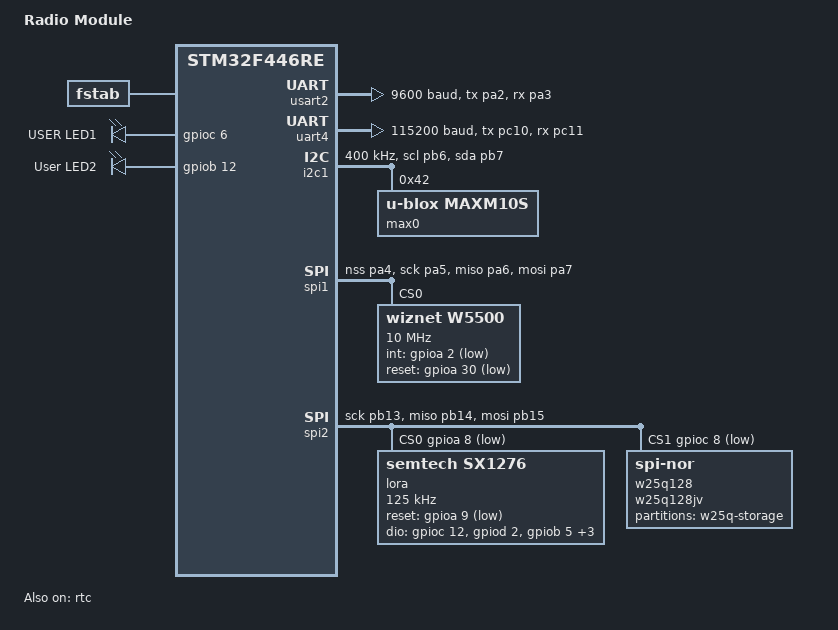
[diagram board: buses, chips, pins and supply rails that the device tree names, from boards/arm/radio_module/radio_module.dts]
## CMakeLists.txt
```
set(BOARD radio_module)
set(BOARD_ROOT ${CMAKE_CURRENT_SOURCE_DIR})

cmake_minimum_required(VERSION 3.13.1)
find_package(Zephyr REQUIRED HINTS $ENV{ZEPHYR_BASE})

project(radio-module LANGUAGES C)

FILE(GLOB sources src/*.c)
target_sources(app PRIVATE ${sources})

# root include directory
zephyr_include_directories(../include)
```

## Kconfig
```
# Copyright (c) 2021 Nordic Semiconductor ASA
# SPDX-License-Identifier: Apache-2.0
#
# This file is the application Kconfig entry point. All application Kconfig
# options can be defined here or included via other application Kconfig files.
# You can browse these options using the west targets menuconfig (terminal) or
# guiconfig (GUI).

menu "Zephyr"
source "Kconfig.zephyr"
endmenu

menuconfig RADIO_MODULE_RECEIVER
	bool "Radio module is the ground receiver"
	default n

config LORA_TX_QUEUE_SIZE
	int "LoRa TX queue size"
	default 16
	help
	  The number of LoRa packets that can be queued for transmission.

config GNSS_DATA_SAMPLE_INTERVAL
	int "GNSS data sample interval (seconds)"
	default 1
	help
	  The interval at which GNSS data is sampled.

module = APP_RADIO_MODULE
module-str = APP_RADIO_MODULE
source "subsys/logging/Kconfig.template.log_config"
```

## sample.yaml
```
# This file is provided so that the application can be compiled using Twister,
# the Zephyr testing tool. In this file, multiple combinations can be specified,
# so that you can easily test all of them locally or in CI.
sample:
  description: Radio Module
  name: radio-module
common:
  build_only: true
  integration_platforms:
    - radio_module
tests:
  app.default: {}
  app.debug:
    extra_overlay_confs:
      - debug.conf
```

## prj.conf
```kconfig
# Copyright (c) 2023 RIT Launch Initiative
# SPDX-License-Identifier: Apache-2.0

# Clocks
CONFIG_CLOCK_CONTROL=y

# Flash
CONFIG_FLASH=y
CONFIG_FLASH_MAP=y
CONFIG_FLASH_PAGE_LAYOUT=y

# Filesystem
CONFIG_FLASH=y
CONFIG_FLASH_MAP=y
CONFIG_FLASH_PAGE_LAYOUT=y
CONFIG_DISK_ACCESS=y
CONFIG_FILE_SYSTEM=y
CONFIG_FILE_SYSTEM_LITTLEFS=y
CONFIG_FS_LITTLEFS_BLK_DEV=y

# GNSS
CONFIG_GNSS=y
CONFIG_GNSS_SATELLITES=y
CONFIG_GNSS_NMEA0183=y

# Hashmap for UDP
CONFIG_SYS_HASH_MAP=y
CONFIG_SYS_HASH_FUNC32=y

# IO
CONFIG_GPIO=y
CONFIG_I2C=y
#CONFIG_I2C_CALLBACK=y
CONFIG_PINCTRL=y
CONFIG_SERIAL=y
CONFIG_SPI=y
# CONFIG_SPI_RTIO=y
CONFIG_LED=y

# Launch Core
CONFIG_LAUNCH_CORE=y
CONFIG_LAUNCH_CORE_LORA=y

# LoRa
CONFIG_LORA=y
CONFIG_LORA_SX127X=y

# OS
CONFIG_TIMESLICE_SIZE=50
CONFIG_MAIN_STACK_SIZE=2048

# RNG (Needed for networking)
CONFIG_ENTROPY_GENERATOR=y
CONFIG_TEST_RANDOM_GENERATOR=y # TODO: See if its worth using STM32 HW RNG to remove warning

# SPI
CONFIG_SPI_STM32_INTERRUPT=y
#CONFIG_SPI_STM32_DMA=y
CONFIG_SPI_ASYNC=y

# State Machine
CONFIG_SMF=y

# Modem
CONFIG_MODEM_BACKEND_UART=y

# Networking
CONFIG_NETWORKING=y
CONFIG_NET_ARP_TABLE_SIZE=4
CONFIG_NET_CONTEXT_RCVTIMEO=y
CONFIG_NET_DEFAULT_IF_ETHERNET=y
CONFIG_NET_DRIVERS=y
CONFIG_NET_IPV4=y
CONFIG_NET_IPV6=n
CONFIG_NET_L2_ETHERNET=y
CONFIG_NET_L2_ETHERNET_MGMT=y
CONFIG_NET_MAX_CONN=10
CONFIG_NET_SOCKETS=y
CONFIG_NET_SOCKETS_POSIX_NAMES=y
CONFIG_NET_STATISTICS=y

# UART
CONFIG_UART_INTERRUPT_DRIVEN=y
```

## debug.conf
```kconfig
# Copyright (c) 2024 Launch Initiative
# SPDX-License-Identifier: Apache-2.0

# Compiler
CONFIG_DEBUG=y
CONFIG_DEBUG_OPTIMIZATIONS=y
CONFIG_DEBUG_THREAD_INFO=y
CONFIG_THREAD_RUNTIME_STATS=y

# Console
CONFIG_CBPRINTF_FP_SUPPORT=y
CONFIG_CONSOLE=y
CONFIG_CONSOLE_GETCHAR=y
CONFIG_CONSOLE_GETCHAR_BUFSIZE=64
CONFIG_CONSOLE_PUTCHAR_BUFSIZE=512
CONFIG_CONSOLE_SUBSYS=y
CONFIG_SERIAL=y
CONFIG_STDOUT_CONSOLE=y
CONFIG_UART_CONSOLE=y

# GNSS
#CONFIG_GNSS_DUMP_TO_LOG=y
#CONFIG_GNSS_LOG_LEVEL_DBG=y

# Networking
CONFIG_TFTP_LIB=y

# Shell (common)
CONFIG_SHELL=y
CONFIG_DEVICE_SHELL=y
CONFIG_FILE_SYSTEM_SHELL=y
CONFIG_FLASH_MAP_SHELL=y
CONFIG_GPIO_SHELL=y
CONFIG_KERNEL_SHELL=y

# Shell (networking)
CONFIG_NET_SHELL=y
CONFIG_NET_ETHERNET_BRIDGE_SHELL=y

# Shell (unique)
CONFIG_LORA_SHELL=y
CONFIG_I2C_SHELL=y

# Logging
CONFIG_APP_RADIO_MODULE_LOG_LEVEL_DBG=y
CONFIG_LOG=y
# CONFIG_LORA_LOG_LEVEL_DBG=y

# Networking
CONFIG_NET_STATISTICS=y
```

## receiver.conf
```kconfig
CONFIG_GNSS_DUMP_TO_LOG=n
CONFIG_GNSS_LOG_LEVEL_DBG=n
CONFIG_GNSS=n
CONFIG_GNSS_SATELLITES=n
CONFIG_GNSS_NMEA0183=n
```

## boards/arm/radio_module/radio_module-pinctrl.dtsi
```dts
/ {
	soc {
		pinctrl: pin-controller@40020000 {
            spi2_nss_pa8: spi2_nss_pa8 {
                pinmux = <STM32_PINMUX('A', 8, AF1)>;
            };
        };
    };
};
```

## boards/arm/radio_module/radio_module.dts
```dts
/*
 * Copyright (c) 2018 Philémon Jaermann
 *
 * SPDX-License-Identifier: Apache-2.0
 */

/dts-v1/;
#include <st/f4/stm32f446Xe.dtsi>
#include <st/f4/stm32f446r(c-e)tx-pinctrl.dtsi>
#include <zephyr/dt-bindings/input/input-event-codes.h>
#include "radio_module-pinctrl.dtsi"

/ {
    model = "Radio Module";
    compatible = "st,stm32f446re-nucleo";

    chosen {
        zephyr,console = &uart4;
        zephyr,shell-uart = &uart4;
        zephyr,sram = &sram0;
        zephyr,flash = &flash0;

        storage = &w25q128;
        logfs = &lfs1;
    };

    fstab {
        compatible = "zephyr,fstab";

        lfs1: lfs1 {
            compatible = "zephyr,fstab,littlefs";
            mount-point = "/lfs";
            partition = <&external_storage_partition>;
            automount;

            read-size = <16>;
            prog-size = <16>;
            cache-size = <64>;
            lookahead-size = <32>;
            block-cycles = <(90 * 1000)>;
        };
    };

    cfg-device-gnss {
        compatible = "u-blox,ubxlib-device-gnss";
        status = "okay";
        transport-type = "i2c1";
        //        transport-type = "usart2";
        module-type = "U_GNSS_MODULE_TYPE_M10";
    };

    leds: leds {
        compatible = "gpio-leds";

        red_led_1: led_1 {
            gpios = <&gpioc 6 GPIO_ACTIVE_HIGH>;
            label = "USER LED1";
        };

        red_led_2: led_2 {
            gpios = <&gpiob 12 GPIO_ACTIVE_HIGH>;
            label = "User LED2";
        };
    };


    reset: reset {
        compatible = "gpio-reset";

        ublox_reset: ublox_reset {
            gpios = <&gpioc 13 GPIO_ACTIVE_LOW>;
            label = "U-Blox Reset";
        };
    };


    aliases {
        led0 = &red_led_1;
        led1 = &red_led_2;

        dbguart = &uart4;
        ubxlib-uart2 = &usart2;
        ubxrst = &ublox_reset;

        lora0 = &lora;

        max0 = &max0;
        i2c1 = &i2c1;
    };
};

&clk_lsi {
    status = "okay";
};

&clk_hsi {
    clock-frequency = <DT_FREQ_M(16)>;
    status = "okay";
};

//&pll {
//	div-m = <8>;
//	mul-n = <384>;
//	div-p = <2>;
//	div-q = <2>;
//	clocks = <&clk_hsi>;
//	status = "okay";
//};

&rcc {
    clocks = <&clk_hsi>;
    clock-frequency = <DT_FREQ_M(16)>;
    ahb-prescaler = <1>;
    apb1-prescaler = <2>;
    apb2-prescaler = <1>;
};

&usart2 {
    pinctrl-0 = <&usart2_tx_pa2 &usart2_rx_pa3>;
    pinctrl-names = "default";
    current-speed = <9600>;
    status = "okay";

//    ubxlib-usart2 {
//        status = "okay";
//        current-speed = <9600>;
//    };
};

&uart4 {
    pinctrl-0 = <&uart4_tx_pc10 &uart4_rx_pc11>;
    pinctrl-names = "default";
    current-speed = <115200>;
    status = "okay";
};

&i2c1 {
    pinctrl-0 = <&i2c1_scl_pb6 &i2c1_sda_pb7>;
    pinctrl-names = "default";
    status = "okay";
    clock-frequency = <I2C_BITRATE_FAST>;

    max0: maxm10s@42 {
        status = "okay";
        compatible = "u-blox,maxm10s";
        reg = <0x42>;

    };
};


&spi1 {
    pinctrl-0 = <&spi1_nss_pa4 &spi1_sck_pa5
                 &spi1_miso_pa6 &spi1_mosi_pa7>;
    pinctrl-names = "default";
    status = "okay";

    w5500: w5500@0 {
        compatible = "wiznet,w5500";
        reg = <0x0>;
        spi-max-frequency = <10000000>;
        int-gpios = <&gpioa 2 GPIO_ACTIVE_LOW>;
        reset-gpios = <&gpioa 30 GPIO_ACTIVE_LOW>;
    };
};

&spi2 {
    pinctrl-0 = <&spi2_sck_pb13 &spi2_miso_pb14 &spi2_mosi_pb15>;
    cs-gpios = <&gpioa 8 GPIO_ACTIVE_LOW
                &gpioc 8 GPIO_ACTIVE_LOW
               >;
    pinctrl-names = "default";
    status = "okay";

    lora: lora@0 {
        compatible = "semtech,sx1276";
        reg = <0>;
        reset-gpios = <&gpioa 9 GPIO_ACTIVE_LOW>;
        dio-gpios = <&gpioc 12 (GPIO_PULL_DOWN | GPIO_ACTIVE_HIGH)>,
                    <&gpiod 2 (GPIO_PULL_DOWN | GPIO_ACTIVE_HIGH)>,
                    <&gpiob 5 (GPIO_PULL_DOWN | GPIO_ACTIVE_HIGH)>,
                    <&gpioa 12 (GPIO_PULL_DOWN | GPIO_ACTIVE_HIGH)>,
                    <&gpioa 11 (GPIO_PULL_DOWN | GPIO_ACTIVE_HIGH)>,
                    <&gpioa 10 (GPIO_PULL_DOWN | GPIO_ACTIVE_HIGH)>;
        power-amplifier-output = "pa-boost";
        spi-max-frequency = <125000>;
        status = "okay";
    };

    w25q128: w25q128jv@1 {
        compatible = "jedec,spi-nor";
        reg = <1>;

        spi-max-frequency = <(10 * 1000 * 1000)>;
        size = <DT_SIZE_M(128)>;
        jedec-id = [ef 40 18];

        has-dpd;
        t-enter-dpd = <(3 * 1000)>;
        t-exit-dpd = <(3 * 1000)>;

        partitions {
            compatible = "fixed-partitions";
            #address-cells = <1>;
            #size-cells = <1>;

            external_storage_partition: partition@0 {
                label = "w25q-storage";
                reg = <0 DT_SIZE_M(128)>;
            };
        };
    };
};

&rtc {
    clocks = <&rcc STM32_CLOCK_BUS_APB1 0x10000000>,
             <&rcc STM32_SRC_LSI RTC_SEL(2)>;
    status = "okay";
};

&backup_sram {
    status = "okay";
};

&flash0 {
    partitions {
        compatible = "fixed-partitions";
        #address-cells = <1>;
        #size-cells = <1>;

        boot_partition: partition@0 {
            label = "mcuboot";
            reg = <0x00000000 DT_SIZE_K(64)>;
            read-only;
        };

        /*
         * The flash starting at 0x00010000 and ending at
         * 0x0001ffff (sectors 16-31) is reserved for use
         * by the application.
         */
        storage_partition: partition@10000 {
            label = "storage";
            reg = <0x00010000 DT_SIZE_K(64)>;
        };

        slot0_partition: partition@20000 {
            label = "image-0";
            reg = <0x00020000 DT_SIZE_K(128)>;
        };

        slot1_partition: partition@40000 {
            label = "image-1";
            reg = <0x00040000 DT_SIZE_K(128)>;
        };

        scratch_partition: partition@60000 {
            label = "image-scratch";
            reg = <0x00060000 DT_SIZE_K(128)>;
        };
    };
};
```

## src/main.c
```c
// Application Includes
#include "radio_module_functionality.h"

#include <launch_core/os/fs.h>
// Zephyr Includes
#include <zephyr/drivers/gpio.h>
#include <zephyr/kernel.h>
#include <zephyr/logging/log.h>
#include <zephyr/storage/flash_map.h>

#define SLEEP_TIME_MS 100

LOG_MODULE_REGISTER(main, CONFIG_APP_RADIO_MODULE_LOG_LEVEL);

// Queues
K_QUEUE_DEFINE(net_tx_queue);

// Devices
static const struct device *const lora_dev = DEVICE_DT_GET_ONE(semtech_sx1276);
static const struct device *const wiznet = DEVICE_DT_GET_ONE(wiznet_w5500);

static int init_networking() {
    int ret = l_init_udp_net_stack_by_device(wiznet, RADIO_MODULE_IP_ADDR);
    if (ret != 0) {
        LOG_ERR("Failed to initialize UDP networking stack: %d", ret);
        return ret;
    } else {
        LOG_INF("Initialized networking stack");
    }

    return 0;
}

int main() {
    LOG_DBG("Starting radio module!\n");

    if (l_check_device(lora_dev) == 0) {
        init_lora_unique(lora_dev);
    }

    if (l_check_device(wiznet) == 0) {
        init_networking();
        init_udp_unique();
    }

    return main_unique();
}
```

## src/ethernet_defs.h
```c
/// @file ethernet_defs.h
/// @brief Contains the definition of the ethernet_port enum.
/// @authors
/// @Naquino14 Nate Aquino naquino14@outlook.com
#ifndef ETHERNET_DEFS_H
#define ETHERNET_DEFS_H

/// @brief Used to identify the module that sent the packet.
enum ethernet_port {
    /// @brief The sensor mod port.
    sensor_mod = 8000,
    /// @brief The power mod port.
    power_mod = 9000,
    /// @brief The autopilot mod port.
    autopilot_mod = 10000,
};

#endif  // !ETHERNET_DEFS_H
```

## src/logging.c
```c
#ifndef CONFIG_RADIO_MODULE_RECEIVER
// Launch Includes
#include <launch_core/os/fs.h>
#include <launch_core/types.h>

// Zephyr Includes
#include <zephyr/drivers/gpio.h>
#include <zephyr/kernel.h>
#include <zephyr/logging/log.h>

#define LOGGING_STACK_SIZE 4096
#define MAX_DIR_NAME_LEN   10 // 4 number boot count + 5 for "/lfs/" + 1 for end slash
#define MAX_FILE_NAME_LEN  4

#define GNSS_SAMPLE_COUNT 300 // 1 samples every 2 seconds for 10 minutes

LOG_MODULE_REGISTER(logging);

static void logging_task(void);
K_THREAD_DEFINE(data_logger, LOGGING_STACK_SIZE, logging_task, NULL, NULL, NULL, K_PRIO_PREEMPT(20), 0, 1000);

// Message queues
K_MSGQ_DEFINE(gnss_logging_msgq, sizeof(l_gnss_data_t), 10, 4);

#ifdef CONFIG_SEND_LAST_LOG
#include <launch_core/net/tftp.h>

static void send_last_log(const uint32_t boot_count_to_get) {
    LOG_INF("Attempting to send last logs over TFTP");
    // Open /lfs/current_boot_count-1 directory
    char dir_name[MAX_DIR_NAME_LEN] = "";
    snprintf(dir_name, sizeof(dir_name), "/lfs/%d", boot_count_to_get);

    // Setup output file names
    char gnss_output_file_name[MAX_FILE_NAME_LEN + 4] = "";
    snprintf(gnss_output_file_name, sizeof(gnss_output_file_name), "gnss_%d", boot_count_to_get);

    // Read GNSS into buffer
    char gnss_file_name[MAX_DIR_NAME_LEN + MAX_FILE_NAME_LEN + 1] = "";
    snprintf(gnss_file_name, sizeof(gnss_file_name), "%s/gnss", dir_name);
    l_fs_file_t gnss_file = {
        .fname = gnss_file_name,
        .width = sizeof(l_gnss_time_sync_t),
        .mode = SLOG_ONCE,
        .size = sizeof(l_gnss_time_sync_t) * GNSS_SAMPLE_COUNT,
        .initialized = false,
        .file = {0},
        .dirent = {0},
        .vfs = {0},
        .wpos = 0,
    };

    l_gnss_time_sync_t gnss_data[GNSS_SAMPLE_COUNT] = {0};
    size_t gnss_log_file_size = l_fs_file_size(&gnss_file);
    LOG_INF("Previous GNSS Log File Size: %d", gnss_log_file_size);
    if ((l_fs_init(&gnss_file) == 0) && fs_read(&gnss_file.file, &gnss_data, gnss_log_file_size)) {
        l_tftp_init_and_put(L_DEFAULT_SERVER_IP, gnss_output_file_name, (uint8_t*) &gnss_data, gnss_log_file_size);
        l_fs_close(&gnss_file);
    } else {
        LOG_ERR("Failed to read GNSS data from file.");
    }
}
#endif

static void init_logging(l_fs_file_t** p_gnss_file) {
    uint32_t boot_count = l_fs_boot_count_check();
#ifdef CONFIG_SEND_LAST_LOG
    send_last_log(boot_count);
#endif

    // Create directory with boot count
    char dir_name[MAX_DIR_NAME_LEN] = "";
    snprintf(dir_name, sizeof(dir_name), "/lfs/%d", boot_count);
    LOG_INF("Logging files to %s", dir_name);
    fs_mkdir(dir_name);

    // Create filenames
    static char gnss_file_name[MAX_DIR_NAME_LEN + MAX_FILE_NAME_LEN + 1] = "";
    snprintf(gnss_file_name, sizeof(gnss_file_name), "%s/gnss", dir_name);

    // Initialize structs
    static l_fs_file_t gnss_file = {
        .fname = gnss_file_name,
        .width = sizeof(l_gnss_time_sync_t),
        .mode = SLOG_ONCE,
        .size = sizeof(l_gnss_time_sync_t) * GNSS_SAMPLE_COUNT,
        .initialized = false,
        .file = {0},
        .dirent = {0},
        .vfs = {0},
        .wpos = 0,
    };

    LOG_INF("Creating file %s", gnss_file_name);

    // Initialize files
    if (l_fs_init(&gnss_file) == 0) {
        LOG_INF("Successfully created file for storing GNSS data.");
        *p_gnss_file = &gnss_file;
    }
}

extern bool logging_enabled;

static void logging_task(void) {
    l_fs_file_t* gnss_file = NULL;

    l_gnss_time_sync_t gnss_data;

    init_logging(&gnss_file);

    bool gnss_out_of_space = false;

    while (true) {
        if (!logging_enabled) {
            continue;
        }

        if (!k_msgq_get(&gnss_logging_msgq, &gnss_data, K_MSEC(10)) && (gnss_file != NULL) && (!gnss_out_of_space)) {
            LOG_INF("Logged GNSS data");

            int32_t err_flag = 0;
            l_fs_write(gnss_file, (const uint8_t*) &gnss_data, &err_flag);
            gnss_out_of_space = err_flag == -ENOSPC;
            LOG_INF("%d", err_flag);
        }

        if (gnss_out_of_space) {
            LOG_ERR("Out of space logging GNSS. Stopping logging.");
            logging_enabled = false;
            l_fs_close(gnss_file);
            return;
        }
    }
}
#endif
```

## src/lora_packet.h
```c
/// @file lora_packet.h
/// @brief Contain the definition of the LoRaPacket class.
/// @authors
/// @Naquino14 Nate Aquino naquino14@outlook.com

#ifndef LORA_PACKET_H
#define LORA_PACKET_H

#ifndef ETHERNET_DEFS_H
#include "ethernet_defs.h"
#endif  // !ETHERNET

#ifndef _SYS__STDINT_H
#include <stdint.h>
#endif  // !_SYS__STDINT_H

/// @brief A struct that represents a LoRa packet.
struct lora_packet {
    /// @brief The module that sent the packet.
    ethernet_port module;
    /// @brief The data of the packet.
    uint8_t data[256];
    /// @brief The length of the data.
    uint8_t data_len;
};

#endif  // !LORA_PACKET_H
```

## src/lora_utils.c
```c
/*
 * Copyright (c) 2023 Aaron Chan
 *
 * SPDX-License-Identifier: Apache-2.0
 */

#include "lora_utils.h"
#include "net_utils.h"

#include <zephyr/kernel.h>
#include <string.h>

const struct device *const lora_dev = DEVICE_DT_GET(DT_ALIAS(lora0));

int init_sx1276(const struct device *const dev) {
    if (!device_is_ready(dev)) {
        printk("Device %s is not ready.\n", dev->name);
        return -ENODEV;
    }
    
    printk("Device %s is ready.\n", dev->name);
    
    return 0;
}


int lora_configure(const struct device *const dev, bool transmit) {
    struct lora_modem_config config = {
        .frequency = 915000000,
        .bandwidth = BW_125_KHZ,
        .datarate = SF_10,
        .preamble_len = 8,
        .coding_rate = CR_4_5,
        .tx_power = 4,
        .iq_inverted = false,
        .public_network = false,
        .tx = transmit
    };

    return lora_config(dev, &config);
}

void lora_debug_recv_cb(const struct device *const dev, uint8_t *data, uint16_t size, int16_t rssi, int8_t snr) {
    static RECEIVER_DATA_T receiver_data = {0}; 

	if (size != 0) {    
		printk("Received %d bytes:\n\tMem View: ",size);
		for (uint16_t i = 0; i < size; i++) printk("0x%02x ",data[i]);
        printk("\n\tVal View: %s\n", data);
		printk("\tRSSI = %ddBm\n\tSNR = %ddBm\n", rssi, snr);

        printk("\n-----------------------------------\n");
    
        uint16_t port = data[1] << 8 | data[0];
        printk("Port: %d\n", port);
        send_udp_broadcast(data + 2, size - 2, port);

        ++receiver_data.packets_sent;
        receiver_data.snr = snr;
        receiver_data.rssi = rssi;
        send_udp_broadcast((uint8_t *) &receiver_data, sizeof(receiver_data), 12001); 
        memset(data, 0, size);
	} 
}

int lora_tx(const struct device *const dev, uint8_t *buff, size_t len) {
    lora_configure(dev, true);
    int ret = lora_send(dev, buff, len);
    lora_configure(dev, false);
    return ret;
}
```

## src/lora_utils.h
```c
/*
 * Copyright (c) 2023 Aaron Chan
 *
 * SPDX-License-Identifier: Apache-2.0
 */

#ifndef LORA_UTILS_H_
#define LORA_UTILS_H_

#include <zephyr/device.h>
#include <zephyr/drivers/lora.h>

typedef struct __attribute__((__packed__)) {
    uint16_t port;
    float pressure_ms5;
    float temperature_ms5;

    float pressure_bmp3;
    float temperature_bmp3;

    float accel_x;
    float accel_y;
    float accel_z;
   
    float magn_x;
    float magn_y;
    float magn_z;

    float gyro_x;
    float gyro_y;
    float gyro_z;

    float temperature_tmp;
} FAKE_SENSOR_DATA_T;

typedef struct __attribute__((__packed__)) {
    uint32_t packets_sent;
    int16_t rssi;
    int8_t snr;
} RECEIVER_DATA_T;

int init_sx1276(const struct device *const dev);

int lora_configure(const struct device *const dev, bool transmit);

int lora_tx(const struct device *const lora_dev, uint8_t *buff, size_t len);

void lora_debug_recv_cb(const struct device *const dev, uint8_t *data, uint16_t size, int16_t rssi, int8_t snr);

#endif
```

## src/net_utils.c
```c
/*
 * Copyright (c) 2023 Aaron Chan
 *
 * SPDX-License-Identifier: Apache-2.0
 */

#include "net_utils.h"

#include <zephyr/kernel.h>
#include <zephyr/net/socket.h>
#include <zephyr/net/ethernet.h>
#include <zephyr/net/net_event.h>

#include <zephyr/logging/log.h>

LOG_MODULE_REGISTER(net_utils, CONFIG_APP_LOG_LEVEL);

static struct net_if *net_interface;

int init_eth_iface(void) {
    const struct device *const wiznet = DEVICE_DT_GET_ONE(wiznet_w5500);
    if (!device_is_ready(wiznet)) {
        LOG_INF("Device %s is not ready.\n", wiznet->name);
        return -ENODEV;
    } 
    
    LOG_INF("Device %s is ready.\n", wiznet->name);
    return 0;
}

int init_net_stack(void) {
    static const char ip_addr[] = "10.10.10.69";
    int ret;

    net_interface = net_if_get_default();
    if (!net_interface) {
        LOG_INF("No network interface found\n");
        return -ENODEV;
    }

    struct in_addr addr;
    ret = net_addr_pton(AF_INET, ip_addr, &addr);
    if (ret < 0) {
        LOG_INF("Invalid IP address\n");
        return ret;
    }

    struct net_if_addr *ifaddr = net_if_ipv4_addr_add(net_interface, &addr, NET_ADDR_MANUAL, 0);
    if (!ifaddr) {
        LOG_INF("Failed to add IP address\n");
        return -ENODEV;
    }

    LOG_INF("IPv4 address configured: %s\n", ip_addr);

    return 0;
}

int send_udp_broadcast(const uint8_t *data, size_t data_len, uint16_t port) {
    int sock;
    int ret;

    sock = socket(AF_INET, SOCK_DGRAM, IPPROTO_UDP);
    if (sock < 0) {
        LOG_INF("Failed to create socket (%d)\n", sock);
        return sock;
    }

    struct sockaddr_in dst_addr;
    dst_addr.sin_family = AF_INET;
    dst_addr.sin_port = htons(port);
    ret = net_addr_pton(AF_INET, "255.255.255.255", &dst_addr.sin_addr);
    if (ret < 0) {
        LOG_INF("Invalid IP address format\n");
        close(sock);
        return ret;
    }

    ret = sendto(sock, data, data_len, 0, (struct sockaddr *) &dst_addr, sizeof(dst_addr));
    if (ret < 0) {
        LOG_INF("Failed to send UDP broadcast (%d)\n", ret);
        close(sock);
        return ret;
    }

    LOG_INF("Sent UDP broadcast: %s\n", data);

    close(sock);
    return 0;
}
```

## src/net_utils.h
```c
/*
 * Copyright (c) 2023 Aaron Chan
 *
 * SPDX-License-Identifier: Apache-2.0
 */

#ifndef POWER_MODULE_NET_UTILS_H_
#define POWER_MODULE_NET_UTILS_H_

#include <stddef.h>
#include <stdint.h>

/**
 * @brief Initialize the ethernet interface
 *
 * @return int 0 if successful, negative error code otherwise
 */
int init_eth_iface(void);

/**
 * @brief Initialize the network stack
 * @details More speicifically, this sets up the IP address of the ethernet device
 * @return int
 */
int init_net_stack(void);

/**
 * @brief Broadcast a UDP packet over ethernet
 *
 * @param data the data to send
 * @param data_len the size of the data to send
 * @param port the port number to send the data to
 * @return int 0 if successful, negative error code otherwise
 */
int send_udp_broadcast(const uint8_t *data, size_t data_len, uint16_t port);

#endif
```

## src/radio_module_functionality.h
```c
#ifndef RADIO_MODULE_FUNCTIONALITY_H
#define RADIO_MODULE_FUNCTIONALITY_H

#include <launch_core/backplane_defs.h>
#include <launch_core/dev/dev_common.h>
#include <launch_core/net/lora.h>
#include <launch_core/net/net_common.h>
#include <launch_core/net/udp.h>

// Networking
#define RADIO_MODULE_IP_ADDR BACKPLANE_IP(RADIO_MODULE_ID, 1, 1) // TODO: KConfig the board revision and #
#define NUM_SOCKETS       3
#define UDP_RX_STACK_SIZE 1024
#define UDP_RX_BUFF_LEN   256 // TODO: Make this a KConfig

// LoRa
#define LORA_TX_STACK_SIZE 1024
#define LORA_LOG_STACK_SIZE 512

int init_lora_unique(const struct device *lora_dev);

int init_udp_unique();

int start_tasks();

int main_unique();

#ifndef CONFIG_RADIO_MODULE_RECEIVER
/**
 * Listen for UDP packets and send payloads over LoRa
 */
void udp_to_lora();
#endif

#endif //RADIO_MODULE_FUNCTIONALITY_H
```

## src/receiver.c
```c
#ifdef CONFIG_RADIO_MODULE_RECEIVER

// Self Include
#include "radio_module_functionality.h"

// Launch Includes
#include <launch_core/net/lora.h>

// Zephyr Includes
#include <zephyr/drivers/gpio.h>
#include <zephyr/kernel.h>
#include <zephyr/kernel/thread.h>
#include <zephyr/logging/log.h>

LOG_MODULE_REGISTER(radio_module_rxer);

// Queues - Name, Entry Size, Queue Size, Alignment
K_MSGQ_DEFINE(rx_telem_queue, sizeof(l_lora_packet_t), 8, 1);
K_MSGQ_DEFINE(statistics_queue, sizeof(l_lora_statistics_t), 8, 1);

static void reset_recv_async(struct k_timer*);
K_TIMER_DEFINE(recv_heartbeat, reset_recv_async, NULL);

// LEDs
static const struct gpio_dt_spec led0 = GPIO_DT_SPEC_GET(DT_ALIAS(led0), gpios);
static const struct gpio_dt_spec led1 = GPIO_DT_SPEC_GET(DT_ALIAS(led1), gpios);
static const struct device* lora;

// Forward Declares
static void udp_broadcast_task(void);

// Threads
#define THREAD_STACK_SIZE 2048
K_THREAD_DEFINE(udp_bcast_thread, THREAD_STACK_SIZE, udp_broadcast_task, NULL, NULL, NULL, K_PRIO_PREEMPT(25), 0, 2000);
int sock = -1;

static void init_udp_sock() {
    if (sock == -1) {
        sock = l_init_udp_socket(RADIO_MODULE_IP_ADDR, RADIO_MODULE_BASE_PORT);
        if (sock >= 0) {
            l_set_socket_rx_timeout(sock, 10);
        }
    }
}

static void udp_broadcast_task(void) {
    init_udp_sock();

    if (sock < 0) {
        LOG_ERR("Failed to create socket for UDP broadcasts. Not sending received LoRa packets");
        return;
    }

    l_lora_packet_t lora_packet = {0};
    l_lora_statistics_t lora_statistics = {0};

    while (true) {
        if (k_msgq_get(&rx_telem_queue, &lora_packet, K_MSEC(100)) == 0) {
            LOG_INF("Received for port %d", lora_packet.port);
            l_send_udp_broadcast(sock, lora_packet.payload, lora_packet.payload_len, lora_packet.port);
            gpio_pin_toggle_dt(&led0);
        }

        if (k_msgq_get(&statistics_queue, &lora_statistics, K_MSEC(100)) == 0) {
            l_send_udp_broadcast(sock, (uint8_t*) &lora_statistics, sizeof(l_lora_statistics_t),
                                 RADIO_MODULE_BASE_PORT);
        }
    }
}

static void receiver_cb(const struct device* lora_dev, uint8_t* payload, uint16_t len, int16_t rssi, int8_t snr) {
    ARG_UNUSED(lora_dev);
    ARG_UNUSED(len);

    gpio_pin_toggle_dt(&led0);
    // Reset the heartbeat timer
    k_timer_start(&recv_heartbeat, K_MSEC(10000), K_NO_WAIT);

    static l_lora_statistics_t statistics = {0};
    statistics.count++;
    statistics.rssi = rssi;
    statistics.snr = snr;

    l_lora_packet_t lora_packet = {
        .port = sys_get_le16(payload), // Get the first 2 bytes as the port
        .payload_len = len - 2         // Subtract the 2 bytes used for the port
    };

    memcpy(lora_packet.payload, payload + 2, lora_packet.payload_len);

    LOG_INF("Received payload of %d bytes for port %d", lora_packet.payload_len, lora_packet.port);

    if (k_msgq_put(&rx_telem_queue, (void*) &lora_packet, K_NO_WAIT) < 0) {
        LOG_ERR("Failed to queue received telemetry");
    }

    if (k_msgq_put(&statistics_queue, &statistics, K_NO_WAIT) < 0) {
        LOG_ERR("Failed to queue statistics");
    }

    LOG_INF("Received %d bytes. RSSI: %d SNR: %d", len, rssi, snr);
}

static const struct device* lora = NULL;
static void reset_recv_async(struct k_timer*) {
    LOG_INF("Resetting recv async!");
    // lora_recv_async(lora, NULL);
    // k_timer_start(&recv_heartbeat, K_SECONDS(10), K_SECONDS(10));
    // lora_recv_async(lora, &receiver_cb);
    gpio_pin_toggle_dt(&led1);
}


int init_lora_unique(const struct device* const lora_dev) {
    lora = lora_dev;
    return lora_recv_async(lora, &receiver_cb);
    // reset_recv_async(NULL);
    // return 0;
}

int init_udp_unique() {
    return 0;
}

int main_unique() {
    LOG_INF("Started radio module RECEIVER");
    return 0;
}

#endif
```

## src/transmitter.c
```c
#ifndef CONFIG_RADIO_MODULE_RECEIVER

// Self Include
#include "radio_module_functionality.h"
#include "transmitter_gnss.h"
#include "transmitter_smf.h"

// Launch Includes
#include <launch_core/backplane_defs.h>

// Zephyr Includes
#include <zephyr/drivers/gpio.h>
#include <zephyr/kernel.h>
#include <zephyr/kernel/thread.h>
#include <zephyr/logging/log.h>

LOG_MODULE_REGISTER(transmitter);

static int udp_sockets[NUM_SOCKETS] = {0};
static uint16_t udp_socket_ports[NUM_SOCKETS] = {
    POWER_MODULE_BASE_PORT + POWER_MODULE_INA_DATA_PORT,
    SENSOR_MODULE_BASE_PORT + SENSOR_MODULE_TEN_HZ_DATA_PORT,
    SENSOR_MODULE_BASE_PORT + SENSOR_MODULE_HUNDRED_HZ_DATA_PORT,
};

l_udp_socket_list_t sock_list = {.sockets = udp_sockets, .ports = udp_socket_ports, .num_sockets = NUM_SOCKETS};

// Queues
K_MSGQ_DEFINE(lora_tx_queue, sizeof(l_lora_packet_t), CONFIG_LORA_TX_QUEUE_SIZE, 1);

// Threads
static void lora_tx_task(void);
K_THREAD_DEFINE(lora_tx_thread, LORA_TX_STACK_SIZE, lora_tx_task, NULL, NULL, NULL, K_PRIO_PREEMPT(20), 0, 1000);

static void state_machine_task(void);
K_THREAD_DEFINE(state_machine_thread, 1024, state_machine_task, NULL, NULL, NULL, K_PRIO_PREEMPT(20), 0, 1000);
static bool eth_init = false;

void udp_to_lora() {
    static const struct gpio_dt_spec led1 = GPIO_DT_SPEC_GET(DT_ALIAS(led1), gpios);
    int rcv_size = 0;

    bool transmitted = false;

    for (int i = 0; i < sock_list.num_sockets; i++) {
        l_lora_packet_t packet = {0};

        packet.port = sock_list.ports[i];
        rcv_size = l_receive_udp(sock_list.sockets[i], packet.payload, LORA_PACKET_DATA_SIZE);
        if (rcv_size <= 0) {
            LOG_INF("Receive err: %d", errno);
            continue;
        }

        transmitted = true;
        packet.payload_len = (uint8_t) rcv_size;
        k_msgq_put(&lora_tx_queue, &packet, K_NO_WAIT);
    }

    if (transmitted) {
        gpio_pin_toggle_dt(&led1);
    }
}

static void lora_tx_task(void) {
    const struct device* const lora_dev = DEVICE_DT_GET_ONE(semtech_sx1276);

    while (1) {
        l_lora_packet_t packet = {0};
        k_msgq_get(&lora_tx_queue, &packet, K_FOREVER);
        l_lora_tx(lora_dev, (uint8_t*) &packet, packet.payload_len + sizeof(packet.port));
    }
}

int init_lora_unique(const struct device* const lora_dev) { return l_lora_set_tx_rx(lora_dev, true); }

int init_udp_unique() {
    if (eth_init) {
        return;
    }

    for (int i = 0; i < sock_list.num_sockets; i++) {
        sock_list.sockets[i] = l_init_udp_socket(INADDR_ANY, sock_list.ports[i]);
        if (sock_list.sockets[i] < 0) {
            LOG_ERR("Failed to create UDP socket: %d", sock_list.sockets[i]);
        } else {
            l_set_socket_rx_timeout(sock_list.sockets[i], 1);
        }
    }

    eth_init = true;
    return 0;
}

static void state_machine_task(void) {
    init_state_machine();
    while (true) {
        run_state_machine();

        k_msleep(100);
    }
}

int main_unique() {
    return 0;
}

#endif
```

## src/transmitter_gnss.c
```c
#include "transmitter_gnss.h"

#include "radio_module_functionality.h"

// Launch Includes
#include <launch_core/dev/gnss.h>
#include <launch_core/types.h>

// Zephyr Includes
#include <zephyr/kernel.h>
#include <zephyr/kernel/thread.h>
#include <zephyr/logging/log.h>

#define GNSS_TX_QUEUE_SIZE 8
#define GNSS_TASK_STACK_SIZE 1024

LOG_MODULE_REGISTER(transmitter_gnss);

// Forward Declaration
static void gnss_tx_on_expire(struct k_timer* timer_id);
static void gnss_data_cb(const struct device* dev, const struct gnss_data* data);

// Message Queues
K_MSGQ_DEFINE(gnss_tx_queue, sizeof(l_gnss_data_t), GNSS_TX_QUEUE_SIZE, 1);

// Flags
static bool ready_to_tx = false;
bool logging_enabled = false;


// Callbacks
GNSS_DATA_CALLBACK_DEFINE(DEVICE_DT_GET(DT_ALIAS(gnss)), gnss_data_cb);
// GNSS_SATELLITES_CALLBACK_DEFINE(DEVICE_DT_GET(DT_ALIAS(gnss)), l_gnss_debug_sat_count_cb);

// Timers
struct k_timer gnss_tx_timer;
K_TIMER_DEFINE(gnss_tx_timer, gnss_tx_on_expire, NULL);

// External Variables
extern struct k_msgq lora_tx_queue;
extern struct k_msgq gnss_logging_msgq;
float gnss_altitude;

void config_gnss_tx_time(k_timeout_t interval) { k_timer_start(&gnss_tx_timer, interval, interval); }

static void gnss_tx_on_expire(struct k_timer* timer_id) { ready_to_tx = true; }

static void gnss_data_cb(const struct device* dev, const struct gnss_data* data) {
    gnss_altitude = (float) data->nav_data.altitude / L_GNSS_ALTITUDE_DIVISION_FACTOR;

    if (!ready_to_tx) {
        return; // timer hasnt expired yet
    }
    l_lora_packet_t packet = {0};
    packet.port = RADIO_MODULE_GNSS_DATA_PORT + RADIO_MODULE_BASE_PORT;
    packet.payload_len = sizeof(l_gnss_data_t);

    l_gnss_data_t gnss_data = {0};
    gnss_data.latitude = (double) data->nav_data.latitude / (double) L_GNSS_LATITUDE_DIVISION_FACTOR;
    gnss_data.longitude = (double) data->nav_data.longitude / (double) L_GNSS_LONGITUDE_DIVISION_FACTOR;
    gnss_data.altitude = gnss_altitude;

    // TODO: Eventually make this zbus and use a single bus for both lora and gnss queues to share
    memcpy(packet.payload, &gnss_data, sizeof(l_gnss_data_t));
    k_msgq_put(&lora_tx_queue, &packet, K_NO_WAIT);
    if (logging_enabled) {
        k_msgq_put(&gnss_logging_msgq, &packet, K_NO_WAIT);
    }

#ifdef CONFIG_DEBUG // if debugging is on tx gnss over ethernet
    // push to udp tx queue
    k_msgq_put(&gnss_tx_queue, (void*) &gnss_data, K_NO_WAIT);
#endif

    ready_to_tx = false;
}

#ifdef CONFIG_DEBUG
static void gnss_debug_task(void);
K_THREAD_DEFINE(gnss_udp_tx, GNSS_TASK_STACK_SIZE, gnss_debug_task, NULL, NULL, NULL, K_PRIO_PREEMPT(20), 0, 1000);

static void gnss_debug_task(void) {
    const uint16_t gnss_port = RADIO_MODULE_BASE_PORT + RADIO_MODULE_GNSS_DATA_PORT;
    int sock = l_init_udp_socket(RADIO_MODULE_IP_ADDR, gnss_port);
    if (sock < 0) {
        LOG_ERR("Failed to initialize UDP socket for GNSS debug task");
        return;
    }

    while (true) {
        l_gnss_data_t gnss_data = {0};
        k_msgq_get(&gnss_tx_queue, &gnss_data, K_FOREVER);
        l_send_udp_broadcast(sock, (uint8_t*) &gnss_data, sizeof(l_gnss_data_t), gnss_port);
    }
}

#endif
```

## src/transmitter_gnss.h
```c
#ifndef RADIO_MODULE_TRANSMITTER_GNSS_H
#define RADIO_MODULE_TRANSMITTER_GNSS_H

#include <stdint.h>
#include <zephyr/kernel.h>

void config_gnss_tx_time(k_timeout_t interval);

#endif //RADIO_MODULE_TRANSMITTER_GNSS_H
```
